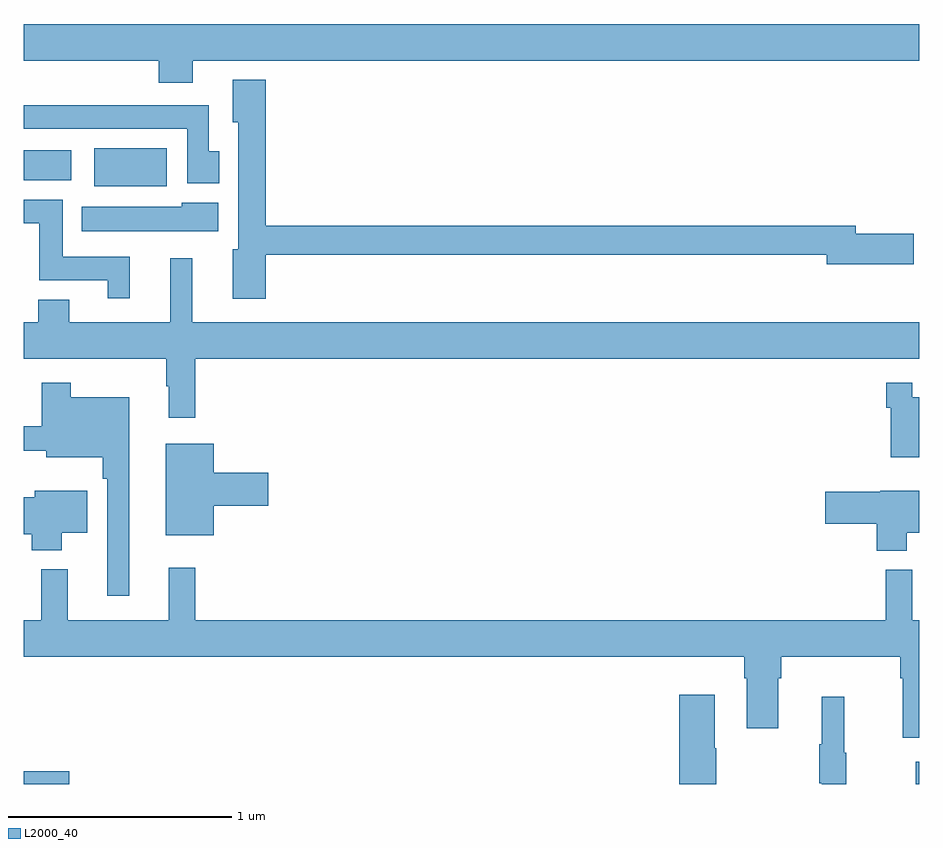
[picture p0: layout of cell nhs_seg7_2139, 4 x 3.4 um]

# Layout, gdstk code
import gdstk
lib = gdstk.Library(unit=1e-6, precision=1e-09)
def R(c, l, rs):  # rectangles x0, y0, x1, y1
    for r in rs: c.add(gdstk.rectangle(r[:2], r[2:], *l))
def P(c, l, *ps):  # polygons
    for p in ps: c.add(gdstk.Polygon(p, *l))
L2000_40 = (2000, 40)

nhs_seg7_2139 = lib.new_cell('nhs_seg7_2139')
R(nhs_seg7_2139, L2000_40, [(251,1048,251.203,1048.058), (254.985,1048,255,1048.099), (251.315,1050.671,251.638,1050.841), (251,1050.698,251.212,1050.832)])
P(nhs_seg7_2139, L2000_40, [(251.755,1051.232),(255,1051.232),(255,1051.396),(251,1051.396),(251,1051.232),(251.603,1051.232),(251.603,1051.133),(251.755,1051.133)],
  [(252.08,1050.366),(254.588,1050.366),(254.588,1050.323),(254.977,1050.323),(254.977,1050.458),(254.716,1050.458),(254.716,1050.494),(252.08,1050.494),(252.08,1051.147),(251.933,1051.147),(251.933,1050.957),(251.957,1050.957),(251.957,1050.39),(251.933,1050.39),(251.933,1050.168),(252.08,1050.168)],
  [(251.872,1050.828),(251.827,1050.828),(251.827,1051.033),(251,1051.033),(251,1050.929),(251.73,1050.929),(251.73,1050.684),(251.872,1050.684)],
  [(251.474,1050.355),(251.173,1050.355),(251.173,1050.61),(251,1050.61),(251,1050.506),(251.069,1050.506),(251.069,1050.251),(251.375,1050.251),(251.375,1050.171),(251.474,1050.171)],
  [(251.869,1050.598),(251.706,1050.598),(251.706,1050.58),(251.258,1050.58),(251.258,1050.47),(251.869,1050.47)],
  [(251.765,1049.9),(255,1049.9),(255,1050.064),(251.753,1050.064),(251.753,1050.349),(251.654,1050.349),(251.654,1050.064),(251.203,1050.064),(251.203,1050.163),(251.063,1050.163),(251.063,1050.064),(251,1050.064),(251,1049.9),(251.637,1049.9),(251.637,1049.777),(251.648,1049.777),(251.648,1049.637),(251.765,1049.637)],
  [(255,1049.728),(254.97,1049.728),(254.97,1049.794),(254.854,1049.794),(254.854,1049.681),(254.874,1049.681),(254.874,1049.459),(255,1049.459)],
  [(251.47,1049.728),(251.209,1049.728),(251.209,1049.794),(251.08,1049.794),(251.08,1049.599),(251,1049.599),(251,1049.489),(251.099,1049.489),(251.099,1049.459),(251.353,1049.459),(251.353,1049.363),(251.373,1049.363),(251.373,1048.842),(251.47,1048.842)],
  [(251.848,1049.243),(252.091,1049.243),(252.091,1049.39),(251.848,1049.39),(251.848,1049.521),(251.633,1049.521),(251.633,1049.111),(251.848,1049.111)],
  [(254.944,1049.123),(255,1049.123),(255,1049.311),(254.826,1049.311),(254.826,1049.306),(254.58,1049.306),(254.58,1049.164),(254.81,1049.164),(254.81,1049.042),(254.944,1049.042)],
  [(251.17,1049.123),(251.284,1049.123),(251.284,1049.311),(251.048,1049.311),(251.048,1049.281),(251,1049.281),(251,1049.116),(251.036,1049.116),(251.036,1049.045),(251.17,1049.045)],
  [(255,1048.732),(254.969,1048.732),(254.969,1048.957),(254.851,1048.957),(254.851,1048.732),(251.765,1048.732),(251.765,1048.966),(251.648,1048.966),(251.648,1048.732),(251.195,1048.732),(251.195,1048.96),(251.077,1048.96),(251.077,1048.732),(251,1048.732),(251,1048.568),(254.219,1048.568),(254.219,1048.472),(254.231,1048.472),(254.231,1048.248),(254.371,1048.248),(254.371,1048.472),(254.384,1048.472),(254.384,1048.568),(254.915,1048.568),(254.915,1048.472),(254.927,1048.472),(254.927,1048.206),(255,1048.206)],
  [(254.094,1048.16),(254.086,1048.16),(254.086,1048.399),(253.928,1048.399),(253.928,1048),(254.094,1048)],
  [(254.674,1048.14),(254.666,1048.14),(254.666,1048.39),(254.564,1048.39),(254.564,1048.177),(254.553,1048.177),(254.553,1048.003),(254.564,1048.003),(254.564,1048),(254.674,1048)])

lib.write_gds('nhs_seg7_2139.gds')
